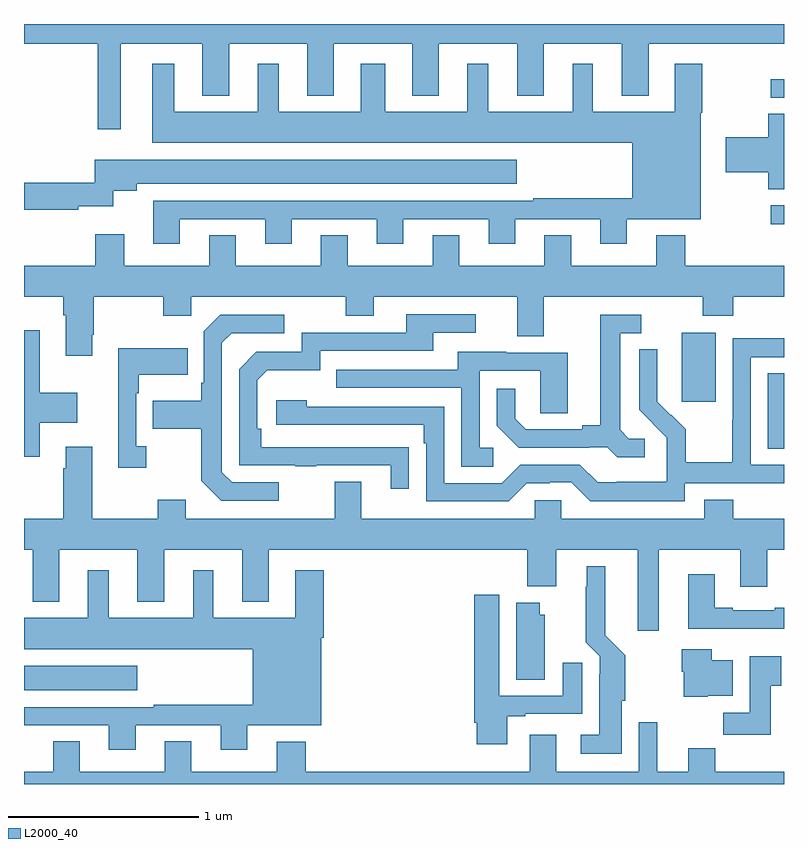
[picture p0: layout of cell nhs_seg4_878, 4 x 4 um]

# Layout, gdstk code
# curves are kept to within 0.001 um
import gdstk
lib = gdstk.Library(unit=1e-6, precision=1e-09)
def R(c, l, rs):  # rectangles x0, y0, x1, y1
    for r in rs: c.add(gdstk.rectangle(r[:2], r[2:], *l))
def P(c, l, *ps):  # polygons
    for p in ps: c.add(gdstk.Polygon(p, *l))
L2000_40 = (2000, 40)

nhs_seg4_878 = lib.new_cell('nhs_seg4_878')
R(nhs_seg4_878, L2000_40, [(155,817.394,155.596,817.522), (158.915,818.665,159,819.062), (158.462,818.913,158.641,819.274), (158.931,819.847,159,819.945), (158.931,820.512,159,820.608)])
P(nhs_seg4_878, L2000_40, [(155.509,820.796),(155.939,820.796),(155.939,820.523),(156.079,820.523),(156.079,820.796),(156.491,820.796),(156.491,820.523),(156.631,820.523),(156.631,820.796),(157.043,820.796),(157.043,820.523),(157.183,820.523),(157.183,820.796),(157.595,820.796),(157.595,820.523),(157.735,820.523),(157.735,820.796),(158.147,820.796),(158.147,820.523),(158.287,820.523),(158.287,820.796),(159,820.796),(159,820.9),(155,820.9),(155,820.796),(155.388,820.796),(155.388,820.347),(155.509,820.347)],
  [(155.821,819.873),(156.269,819.873),(156.269,819.744),(156.409,819.744),(156.409,819.873),(156.857,819.873),(156.857,819.744),(156.997,819.744),(156.997,819.873),(157.445,819.873),(157.445,819.744),(157.585,819.744),(157.585,819.873),(158.033,819.873),(158.033,819.744),(158.173,819.744),(158.173,819.872),(158.563,819.872),(158.563,820.434),(158.571,820.434),(158.571,820.69),(158.426,820.69),(158.426,820.438),(157.993,820.438),(157.993,820.69),(157.889,820.69),(157.889,820.438),(157.444,820.438),(157.444,820.69),(157.334,820.69),(157.334,820.438),(156.901,820.438),(156.901,820.69),(156.773,820.69),(156.773,820.438),(156.34,820.438),(156.34,820.69),(156.23,820.69),(156.23,820.438),(155.791,820.438),(155.791,820.69),(155.675,820.69),(155.675,820.274),(158.201,820.274),(158.201,819.982),(157.681,819.982),(157.681,819.969),(155.681,819.969),(155.681,819.744),(155.821,819.744)],
  [(159,820.427),(158.917,820.427),(158.917,820.304),(158.694,820.304),(158.694,820.121),(158.917,820.121),(158.917,820.03),(159,820.03)],
  [(155.286,819.941),(155.469,819.941),(155.469,820.022),(155.593,820.022),(155.593,820.058),(157.594,820.058),(157.594,820.186),(155.373,820.186),(155.373,820.064),(155,820.064),(155,819.922),(155.286,819.922)],
  [(155.359,819.265),(155.367,819.265),(155.367,819.464),(155.734,819.464),(155.734,819.365),(155.88,819.365),(155.88,819.464),(156.694,819.464),(156.694,819.365),(156.841,819.365),(156.841,819.464),(157.595,819.464),(157.595,819.256),(157.735,819.256),(157.735,819.464),(158.572,819.464),(158.572,819.365),(158.732,819.365),(158.732,819.464),(159,819.464),(159,819.628),(158.48,819.628),(158.48,819.787),(158.327,819.787),(158.327,819.628),(157.879,819.628),(157.879,819.788),(157.739,819.788),(157.739,819.628),(157.291,819.628),(157.291,819.788),(157.151,819.788),(157.151,819.628),(156.703,819.628),(156.703,819.788),(156.563,819.788),(156.563,819.628),(156.115,819.628),(156.115,819.788),(155.975,819.788),(155.975,819.628),(155.527,819.628),(155.527,819.793),(155.375,819.793),(155.375,819.628),(155,819.628),(155,819.464),(155.207,819.464),(155.207,819.368),(155.219,819.368),(155.219,819.153),(155.359,819.153)],
  [(157.025,818.672),(156.248,818.673),(156.248,818.77),(156.228,818.77),(156.228,819.024),(156.281,819.077),(156.558,819.077),(156.558,819.18),(157.153,819.18),(157.153,819.276),(157.378,819.276),(157.378,819.372),(157.013,819.372),(157.013,819.276),(156.462,819.276),(156.462,819.174),(156.222,819.174),(156.132,819.084),(156.132,818.577),(156.427,818.577),(156.427,818.572),(156.539,818.572),(156.539,818.577),(156.929,818.577),(156.929,818.454),(157.025,818.454)],
  [(158.266,818.718),(158.184,818.718),(158.137,818.765),(158.137,819.273),(158.248,819.273),(158.248,819.369),(158.033,819.369),(158.033,818.789),(157.937,818.789),(157.937,818.766),(157.642,818.766),(157.585,818.823),(157.585,818.98),(157.488,818.98),(157.488,818.786),(157.604,818.67),(157.976,818.67),(157.976,818.673),(158.07,818.673),(158.122,818.621),(158.266,818.621)],
  [(156.34,818.487),(156.096,818.487),(156.042,818.541),(156.042,819.222),(156.093,819.273),(156.37,819.273),(156.37,819.369),(156.033,819.369),(155.946,819.282),(155.946,819.013),(155.934,819.013),(155.934,818.917),(155.677,818.917),(155.677,818.77),(155.934,818.77),(155.934,818.497),(156.039,818.391),(156.34,818.391)],
  [(155.083,818.801),(155.281,818.801),(155.281,818.959),(155.083,818.959),(155.083,819.289),(155,819.289),(155,818.622),(155.083,818.622)],
  [(158.478,818.484),(159,818.484),(159,818.58),(158.826,818.58),(158.826,819.147),(159,819.147),(159,819.246),(158.73,819.246),(158.73,818.816),(158.728,818.816),(158.728,818.593),(158.483,818.593),(158.483,818.767),(158.406,818.844),(158.403,818.841),(158.333,818.912),(158.334,819.188),(158.238,819.188),(158.238,818.87),(158.384,818.722),(158.384,818.625),(158.382,818.625),(158.382,818.491),(158.119,818.491),(158.119,818.487),(158.019,818.487),(157.926,818.58),(157.611,818.58),(157.515,818.484),(157.212,818.484),(157.212,818.886),(156.488,818.886),(156.488,818.92),(156.327,818.92),(156.327,818.79),(157.103,818.79),(157.103,818.693),(157.116,818.693),(157.116,818.388),(157.551,818.388),(157.647,818.484),(157.766,818.484),(157.766,818.487),(157.881,818.487),(157.981,818.387),(158.478,818.387)],
  [(155.644,818.678),(155.592,818.678),(155.592,818.957),(155.605,818.957),(155.605,819.053),(155.861,819.053),(155.861,819.193),(155.495,819.193),(155.495,818.565),(155.644,818.565)],
  [(157.471,818.67),(157.398,818.67),(157.398,819.075),(157.716,819.075),(157.716,818.851),(157.861,818.851),(157.861,819.171),(157.537,819.171),(157.537,819.175),(157.283,819.175),(157.283,819.081),(156.643,819.081),(156.643,818.985),(157.302,818.985),(157.302,818.569),(157.471,818.569)],
  [(158.341,818.132),(158.771,818.132),(158.771,817.938),(158.911,817.938),(158.911,818.132),(159,818.132),(159,818.296),(158.732,818.296),(158.732,818.395),(158.579,818.395),(158.579,818.296),(157.827,818.296),(157.827,818.394),(157.689,818.394),(157.689,818.296),(156.775,818.296),(156.775,818.491),(156.635,818.491),(156.635,818.296),(155.851,818.296),(155.851,818.395),(155.704,818.395),(155.704,818.296),(155.359,818.296),(155.359,818.674),(155.219,818.674),(155.219,818.561),(155.207,818.561),(155.207,818.296),(155,818.296),(155,818.132),(155.045,818.132),(155.045,817.859),(155.185,817.859),(155.185,818.132),(155.597,818.132),(155.597,817.859),(155.737,817.859),(155.737,818.132),(156.149,818.132),(156.149,817.859),(156.289,817.859),(156.289,818.132),(157.649,818.132),(157.649,817.94),(157.801,817.94),(157.801,818.132),(158.231,818.132),(158.231,817.707),(158.341,817.707)],
  [(158.146,817.338),(158.164,817.338),(158.164,817.578),(158.059,817.684),(158.059,818.047),(157.961,818.047),(157.961,817.937),(157.957,817.937),(157.957,817.646),(158.031,817.572),(158.031,817.478),(158.027,817.478),(158.027,817.159),(157.929,817.159),(157.929,817.058),(158.146,817.058)],
  [(155.587,817.209),(156.035,817.209),(156.035,817.08),(156.175,817.08),(156.175,817.208),(156.565,817.208),(156.565,817.67),(156.578,817.67),(156.578,818.026),(156.428,818.026),(156.428,817.774),(155.995,817.774),(155.995,818.026),(155.891,818.026),(155.891,817.774),(155.446,817.774),(155.446,818.026),(155.336,818.026),(155.336,817.774),(155,817.774),(155,817.61),(156.203,817.61),(156.203,817.318),(155.683,817.318),(155.683,817.305),(155,817.305),(155,817.209),(155.447,817.209),(155.447,817.08),(155.587,817.08)],
  [(159,817.828),(158.951,817.828),(158.951,817.815),(158.731,817.815),(158.731,817.828),(158.635,817.828),(158.635,818.005),(158.495,818.005),(158.495,817.718),(159,817.718)],
  [(157.543,817.257),(157.639,817.257),(157.639,817.269),(157.939,817.269),(157.939,817.537),(157.835,817.537),(157.835,817.365),(157.501,817.365),(157.501,817.897),(157.37,817.897),(157.37,817.222),(157.382,817.222),(157.382,817.11),(157.543,817.11)],
  [(157.741,817.791),(157.714,817.791),(157.714,817.855),(157.592,817.855),(157.592,817.45),(157.741,817.45)],
  [(158.598,817.364),(158.731,817.364),(158.731,817.552),(158.62,817.552),(158.62,817.609),(158.462,817.609),(158.462,817.491),(158.473,817.491),(158.473,817.358),(158.598,817.358)],
  [(158.929,817.417),(158.986,817.417),(158.986,817.573),(158.819,817.573),(158.819,817.276),(158.68,817.276),(158.68,817.158),(158.929,817.158)],
  [(159,816.964),(158.639,816.964),(158.639,817.088),(158.495,817.088),(158.495,816.964),(158.332,816.964),(158.332,817.225),(158.235,817.225),(158.235,816.964),(157.801,816.964),(157.801,817.159),(157.661,817.159),(157.661,816.964),(156.482,816.964),(156.482,817.123),(156.329,817.123),(156.329,816.964),(155.881,816.964),(155.881,817.124),(155.741,817.124),(155.741,816.964),(155.293,816.964),(155.293,817.124),(155.153,817.124),(155.153,816.964),(155,816.964),(155,816.9),(159,816.9)])

lib.write_gds('nhs_seg4_878.gds')
